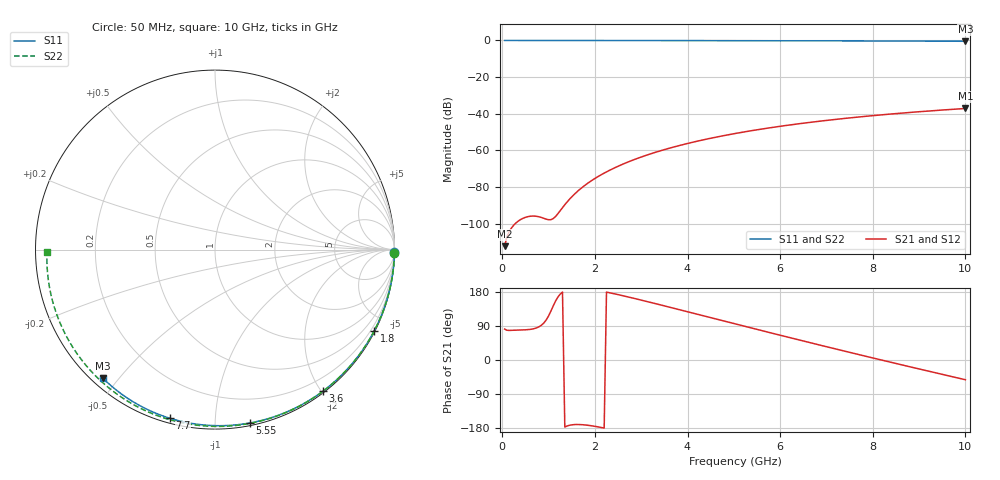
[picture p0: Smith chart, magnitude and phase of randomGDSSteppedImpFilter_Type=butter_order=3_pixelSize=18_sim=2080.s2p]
! freq	dB(S11)	phase(S11)	dB(S12)	phase(S12)
!  dB(S21)	phase(S21)	dB(S22)	phase(S22)
!S-par simulation data
#  GHz  S  DB  R 50
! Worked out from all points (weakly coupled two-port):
!   200 points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, 50 MHz to 10 GHz, reference 50 ohm
!   highest |S21| = -37.14 dB at 10 GHz (marker M1); lowest = -112.3 dB at 50 MHz (marker M2)
!   lowest |S11| = -0.4 dB at 10 GHz (marker M3), VSWR 39.10, Z = 1.54 - j22.6 ohm
!   |S11| at or under -10 dB: nowhere
!   |S22| runs from -0.6 to 0.0 dB; largest |S21 - S12| = 0
!   S11 on the Smith chart (normalised r, x): 50 MHz: open; 1.8 GHz: 0.04, -4.18; 3.6 GHz: 0.02, -2.02; 5.55 GHz: 0.02, -1.22; 7.7 GHz: 0.02, -0.77; 10 GHz: 0.03, -0.45
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0.05  -0.00 -0.8  -112.28 81.7  -112.28 81.7  -0.00 -1.1
0.45  -0.01 -6.8  -97.04 79.4  -97.04 79.4  -0.01 -9.5
0.85  -0.02 -12.8  -96.67 92.3  -96.67 92.3  -0.02 -17.8
1.25  -0.02 -18.8  -92.93 173.8  -92.93 173.8  -0.03 -26.1
1.7  -0.03 -25.5  -80.72 -170.5  -80.72 -170.5  -0.04 -35.2
1.75  -0.03 -26.2  -79.72 -170.9  -79.72 -170.9  -0.05 -36.2
1.8  -0.03 -26.9  -78.76 -171.5  -78.76 -171.5  -0.05 -37.2
2.1  -0.04 -31.3  -73.81 -177.2  -73.81 -177.2  -0.06 -43.2
2.3  -0.04 -34.2  -71.07 177.9  -71.07 177.9  -0.06 -47.2
2.5  -0.05 -37.1  -68.66 172.6  -68.66 172.6  -0.07 -51.1
2.9  -0.06 -42.8  -64.53 161.1  -64.53 161.1  -0.08 -58.8
3.4  -0.07 -49.9  -60.32 145.9  -60.32 145.9  -0.09 -68.3
3.6  -0.07 -52.7  -58.86 139.8  -58.86 139.8  -0.10 -72.0
4.3  -0.09 -62.2  -54.47 118.0  -54.47 118.0  -0.12 -84.7
5.05  -0.11 -72.2  -50.69 94.7  -50.69 94.7  -0.15 -97.9
5.55  -0.13 -78.6  -48.56 79.2  -48.56 79.2  -0.17 -106.4
6.1  -0.15 -85.6  -46.50 62.3  -46.50 62.3  -0.20 -115.5
6.7  -0.18 -93.0  -44.53 44.1  -44.53 44.1  -0.24 -125.4
7.7  -0.24 -104.9  -41.76 14.2  -41.76 14.2  -0.32 -141.5
8.35  -0.29 -112.5  -40.24 -4.8  -40.24 -4.8  -0.38 -152.0
9.2  -0.36 -122.2  -38.52 -29.4  -38.52 -29.4  -0.47 -165.8
10  -0.44 -131.2  -37.14 -52.1  -37.14 -52.1  -0.57 -179.3
